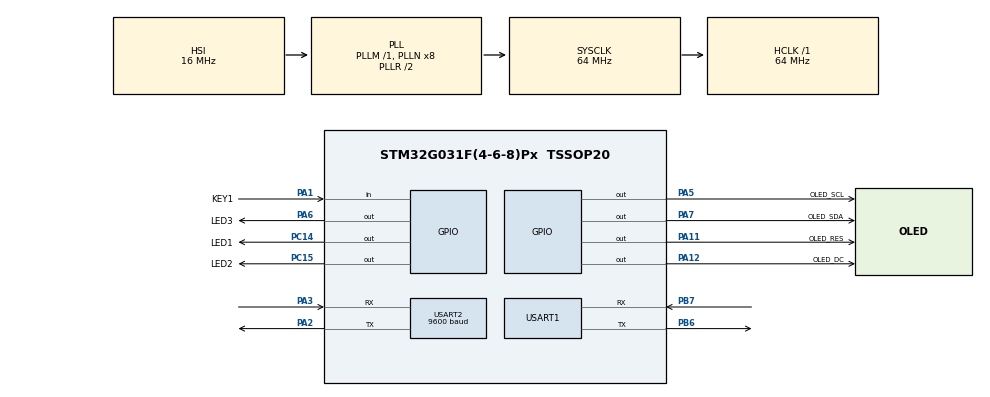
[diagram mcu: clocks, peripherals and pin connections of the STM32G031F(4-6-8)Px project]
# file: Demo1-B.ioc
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Mcu.Family=STM32G0
Mcu.Name=STM32G031F(4-6-8)Px
Mcu.Package=TSSOP20
NVIC.USART1_IRQn=true\:0\:0\:false\:false\:true\:true\:true
NVIC.USART2_IRQn=true\:0\:0\:false\:false\:true\:true\:true
PA1.GPIO_Label=KEY1
PA1.GPIO_PuPd=GPIO_PULLUP
PA1.Signal=GPIO_Input
PA11\ [PA9].GPIO_Label=OLED_RES
PA11\ [PA9].PinState=GPIO_PIN_SET
PA11\ [PA9].Signal=GPIO_Output
PA12\ [PA10].GPIO_Label=OLED_DC
PA12\ [PA10].PinState=GPIO_PIN_SET
PA12\ [PA10].Signal=GPIO_Output
PA13.Mode=Serial_Wire
PA13.Signal=SYS_SWDIO
PA14-BOOT0.Mode=Serial_Wire
PA14-BOOT0.Signal=SYS_SWCLK
PA2.Mode=Asynchronous
PA2.Signal=USART2_TX
PA3.Mode=Asynchronous
PA3.Signal=USART2_RX
PA5.GPIO_Label=OLED_SCL
PA5.PinState=GPIO_PIN_SET
PA5.Signal=GPIO_Output
PA6.GPIO_Label=LED3
PA6.PinState=GPIO_PIN_SET
PA6.Signal=GPIO_Output
PA7.GPIO_Label=OLED_SDA
PA7.PinState=GPIO_PIN_SET
PA7.Signal=GPIO_Output
PB6.Mode=Asynchronous
PB6.Signal=USART1_TX
PB7.Mode=Asynchronous
PB7.Signal=USART1_RX
PC14-OSC32_IN\ (PC14).GPIO_Label=LED1
PC14-OSC32_IN\ (PC14).GPIO_ModeDefaultOutputPP=GPIO_MODE_OUTPUT_OD
PC14-OSC32_IN\ (PC14).PinState=GPIO_PIN_SET
PC14-OSC32_IN\ (PC14).Signal=GPIO_Output
PC15-OSC32_OUT\ (PC15).GPIO_Label=LED2
PC15-OSC32_OUT\ (PC15).PinState=GPIO_PIN_SET
PC15-OSC32_OUT\ (PC15).Signal=GPIO_Output
ProjectManager.HeapSize=0x200
ProjectManager.StackSize=0x400
ProjectManager.TargetToolchain=MDK-ARM V5.27
RCC.ADCFreq_Value=64000000
RCC.AHBFreq_Value=64000000
RCC.CortexFreq_Value=64000000
RCC.EXTERNAL_CLOCK_VALUE=12288000
RCC.HCLKFreq_Value=64000000
RCC.HSE_VALUE=8000000
RCC.HSI_VALUE=16000000
RCC.LSE_VALUE=32768
RCC.SYSCLKFreq_VALUE=64000000
RCC.SYSCLKSource=RCC_SYSCLKSOURCE_PLLCLK
RCC.VCOOutputFreq_Value=128000000
USART1.VirtualMode-Asynchronous=VM_ASYNC
USART2.BaudRate=9600
USART2.VirtualMode-Asynchronous=VM_ASYNC
board=custom

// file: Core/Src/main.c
/* USER CODE BEGIN Header */
/**
  ******************************************************************************
  * @file           : main.c
  * @brief          : Main program body
  ******************************************************************************
  * @attention
  *
  * <h2><center>&copy; Copyright (c) 2022 CSTX.
  * All rights reserved.</center></h2>
  *
  * This software component is licensed by ST under BSD 3-Clause license,
  * the "License"; You may not use this file except in compliance with the
  * License. You may obtain a copy of the License at:
  *                        opensource.org/licenses/BSD-3-Clause
  *
  ******************************************************************************
  */
/* USER CODE END Header */
#include "main.h"
#include "usart.h"
#include "gpio.h"

/* USER CODE BEGIN Includes */
#include <stdio.h>
#include "string.h"
#include "oled.h"
#include "esp8266.h"
#include "mqtt.h"

//通过阿里云物联网三要素计算你的密码 https://nnhpiot.com/#/Online_tools
//////////////////////////////下面是自行修改参数的地方////////////////////////////////////////
#define ServerIP "192.168.31.121"
#define Port "1883"

#define ClientID "mqttjs_31e8c62ea1"    //需要定义为用户自己的参数
#define Username   "admin"      //需要定义为用户自己的参数
#define Password   "public"  //需要定义为用户自己的参数

#define Topic   "testtopic" //需要定义为用户自己的参数
#define TopicPost   "testtopic" //需要定义为用户自己的参数

#define SSID "Wireless Weak-link Network"
#define WIFIPassword "18239778101"
///////////////////////////////////////////////////////////////

/* USER CODE END Includes */

void SystemClock_Config(void);

/* USER CODE BEGIN 0 */
#define SDATA "ToggleLED\r\n"
unsigned char cscxReg[3]={0xC1,0x00,0x09};	//发送查询数据
unsigned char revCsReg[12]={0xC1 ,0x00 ,0x09 ,0xFF ,0xFF ,0xFF ,0xFF ,0xFF ,0xFF, 0xFF ,0xFF ,0xFF};
unsigned char key=0;
unsigned char disOLED[24];

unsigned char servernotok=1;
/* USER CODE END 0 */

int main(void)
{
	uint8_t res=1;
	int i ;
	char *CSTXREVData[3];
  /* MCU Configuration--------------------------------------------------------*/

  /* Reset of all peripherals, Initializes the Flash interface and the Systick. */
  HAL_Init();	//HAL初始化

  /* Configure the system clock */
  SystemClock_Config();

  /* Initialize all configured peripherals */
  MX_GPIO_Init();
  MX_USART1_UART_Init();
  MX_USART2_UART_Init();
  /* USER CODE BEGIN 2 */
	USART_Interupt_Enable();	//使能串口接收中断和空闲中断
	//printf 串口1 打印用来和wifi通信了 ，注意不能打印过多的东西否则wifi会死机的
	//printf("\r\n ############ http://www.csgsm.com/ ############\r\n ############("__DATE__ " - " __TIME__ ")############\r\n");

	CS_OLED_Init();
  OLED_Clear();
	OLED_ShowString(16,0,"LoRa"); OLED_ShowCHinese(48,0,7);OLED_ShowCHinese(64,0,8);OLED_ShowCHinese(80,0,9);

  /* USER CODE END 2 */

	OLED_ShowString(100,0,"[B]");
	cstxInitialize(); 	//初始化LED  闪烁下

	if(HAL_GPIO_ReadPin(M1_GPIO_Port, M1_Pin) == 1) //M1 是高电平才开始读取模块的寄存器
	{
		CS_Reg_Send_Data(cscxReg,3);//发送3个字节
		HAL_Delay(300);	//等待延迟
		cstx_reg_Receive_Data(revCsReg,&key);

		memset(disOLED,0,24);

		OLED_ShowString(0,2,"Addr:");
		for(i=3;i<5;i++) //显示
		{
			sprintf((char *)disOLED,"%02X",revCsReg[i]);
			OLED_ShowString(i*16-4,2,disOLED);
		}

		OLED_ShowString(82,2,"Ch:");
		sprintf((char *)disOLED,"%02X",revCsReg[8]);
		OLED_ShowString(104,2,disOLED);
	}
	else
	{
		OLED_ShowString(0,2,"M1, M0 :  0 , 0");
	}

  /* Infinite loop */
  /* USER CODE BEGIN WHILE */
	HAL_GPIO_WritePin(M1_GPIO_Port, M1_Pin, GPIO_PIN_RESET); //使能模块运行 M1 0

	/*
	printf("+++");	//退出透传模式
	//前面发送的所有AT命令都可能给模块反馈ERROR导致没有OK 所以把之前的全部清空串口1
	//串口1和WiFi模块通信 串口2和LORA模块通信 ，单片机就2个串口全部用掉了*/
	HAL_Delay(1000);
	memset(USART_RX_BUF,0,USART_REC_LEN);
	USART_RX_STA = 0;

  while (1)
  {
    /* USER CODE END WHILE */

		//WiFi模块连接到路由器或者手机热点
		while(res)
		{
			res=WIFI_Dect((uint8_t *)SSID,(uint8_t *)WIFIPassword);
			HAL_Delay(200);
		}
		HAL_GPIO_WritePin(LED1_GPIO_Port,LED1_Pin,GPIO_PIN_RESET); //LED1点亮 表示单片机和wifi连接成功

		res=1;
		while(servernotok)
		{
			res=ESP8266_CONNECT_SERVER((uint8_t *)ServerIP,(uint8_t *)Port);
			HAL_Delay(1000);
		}
		HAL_GPIO_WritePin(LED2_GPIO_Port,LED2_Pin,GPIO_PIN_RESET);
		OLED_ShowString(0,2,"               ");
		OLED_ShowString(0,2,"CONNE SERVER OK");

		//链接到阿里云
		servernotok=1;
		while(servernotok)
		{
			res=mqtt_Connection((char *)Username,(char *)Password,(char *)ClientID);  //连接服务器
			if(servernotok == 0){
				USART2_printf("Enter MQTT OK!\r\n");
			}
			else{
			  USART2_printf("Enter MQTT Error!\r\n");
			}
		}
		servernotok=1;
		while(servernotok)
		{
			res=mqtt_subscribe((char *)Topic);  //订阅消息
			if(servernotok == 0){
				USART2_printf("Subscription succeeded!\r\n");
			}
			else{
			  USART2_printf("Subscription failed!\r\n");
			}
		}

		OLED_ShowString(0,2,"               ");
		OLED_ShowString(0,2,"REGISTER EMQ OK");

		USART2_printf("***CONNECT SERVER SUCCEED***\r\n");

    /* USER CODE BEGIN 3 */
		while(1)
		{
				HAL_Delay(2000);
				OLED_ShowString(0,2,"               ");
				OLED_ShowString(0,2,"Send EMQ MQTT .");

				if(!servernotok)
				{
					ESP8266_Send_data((char *)TopicPost,"33","44");  //发送数据 调试用

				}
		}
  }
  /* USER CODE END 3 */
}

void SystemClock_Config(void)
{
  RCC_OscInitTypeDef RCC_OscInitStruct = {0};
  RCC_ClkInitTypeDef RCC_ClkInitStruct = {0};
  RCC_PeriphCLKInitTypeDef PeriphClkInit = {0};

  /** Configure the main internal regulator output voltage
  */
  HAL_PWREx_ControlVoltageScaling(PWR_REGULATOR_VOLTAGE_SCALE1);
  /** Initializes the RCC Oscillators according to the specified parameters
  * in the RCC_OscInitTypeDef structure.
  */
  RCC_OscInitStruct.OscillatorType = RCC_OSCILLATORTYPE_HSI;
  RCC_OscInitStruct.HSIState = RCC_HSI_ON;
  RCC_OscInitStruct.HSIDiv = RCC_HSI_DIV1;
  RCC_OscInitStruct.HSICalibrationValue = RCC_HSICALIBRATION_DEFAULT;
  RCC_OscInitStruct.PLL.PLLState = RCC_PLL_ON;
  RCC_OscInitStruct.PLL.PLLSource = RCC_PLLSOURCE_HSI;
  RCC_OscInitStruct.PLL.PLLM = RCC_PLLM_DIV1;
  RCC_OscInitStruct.PLL.PLLN = 8;
  RCC_OscInitStruct.PLL.PLLP = RCC_PLLP_DIV2;
  RCC_OscInitStruct.PLL.PLLQ = RCC_PLLQ_DIV2;
  RCC_OscInitStruct.PLL.PLLR = RCC_PLLR_DIV2;
  if (HAL_RCC_OscConfig(&RCC_OscInitStruct) != HAL_OK)
  {
    Error_Handler();
  }
  /** Initializes the CPU, AHB and APB buses clocks
  */
  RCC_ClkInitStruct.ClockType = RCC_CLOCKTYPE_HCLK|RCC_CLOCKTYPE_SYSCLK
                              |RCC_CLOCKTYPE_PCLK1;
  RCC_ClkInitStruct.SYSCLKSource = RCC_SYSCLKSOURCE_PLLCLK;
  RCC_ClkInitStruct.AHBCLKDivider = RCC_SYSCLK_DIV1;
  RCC_ClkInitStruct.APB1CLKDivider = RCC_HCLK_DIV1;

  if (HAL_RCC_ClockConfig(&RCC_ClkInitStruct, FLASH_LATENCY_2) != HAL_OK)
  {
    Error_Handler();
  }
  /** Initializes the peripherals clocks
  */
  PeriphClkInit.PeriphClockSelection = RCC_PERIPHCLK_USART1;
  PeriphClkInit.Usart1ClockSelection = RCC_USART1CLKSOURCE_PCLK1;
  if (HAL_RCCEx_PeriphCLKConfig(&PeriphClkInit) != HAL_OK)
  {
    Error_Handler();
  }
}

void Error_Handler(void)
{
  __disable_irq();
  while (1)
  {
  }
}

/************************ (C) COPYRIGHT CSTX *****END OF FILE****/
